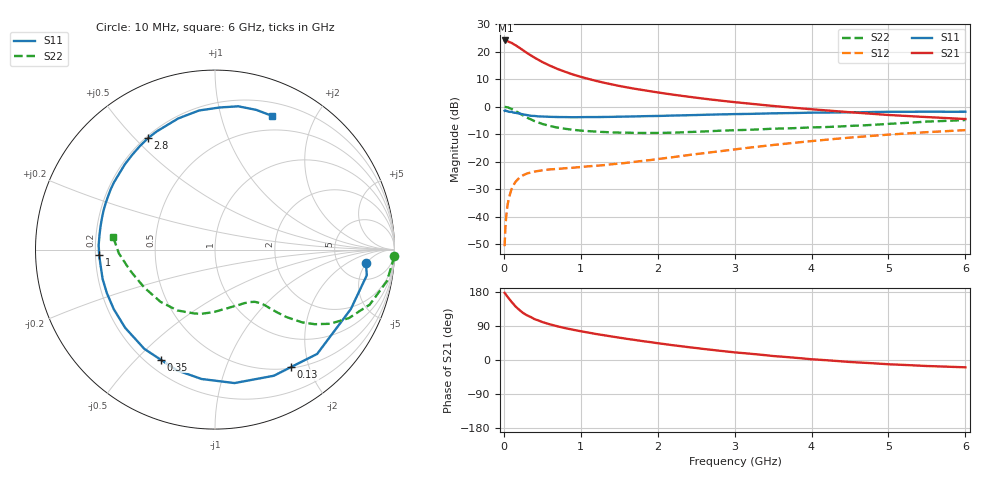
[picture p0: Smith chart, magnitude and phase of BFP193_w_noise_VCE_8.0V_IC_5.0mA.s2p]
! (c) 2017  Infineon Technologies AG, Munich
! Infineon Technologies  Discrete & RF Semiconductors
! BFP193
! VCE =  8.0 V,  IC =  5.0 mA
! Common Emitter S-Parameters:  Jan 2017
# GHz  S  MA  R  50
!  f  S11  S21  S12  S22
! GHz  MAG  ANG  MAG  ANG  MAG  ANG  MAG  ANG
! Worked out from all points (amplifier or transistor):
!   77 points, 10 MHz to 6 GHz, reference 50 ohm
!   highest |S21| = 24.1 dB at 20 MHz (marker M1)
!   |S21| within 3 dB of that: start of sweep to 220.3 MHz
!   unconditionally stable (mu >= 1): 1.412 GHz to 2.624 GHz
!   at 130 MHz: K = 0.14, MSG = 25.6 dB, |S12| = -28.4 dB
!   at 2.2 GHz: K = 1.06, MAG = 9.9 dB, |S12| = -18.4 dB
!   at 6 GHz: K = 0.85, MSG = 2.0 dB, |S12| = -8.5 dB
!   lowest NFmin = 0.92 dB at 450 MHz
!   S11 on the Smith chart (normalised r, x): 10 MHz: 9, -5; 130 MHz: 0.52, -1.72; 350 MHz: 0.26, -0.59; 1 GHz: 0.22, -0.02; 2.8 GHz: 0.21, +0.55; 6 GHz: 0.34, +1.45
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0.01  0.8437 -4.9  15.85 177.2  0.0029 85.3  1 -2.1
0.02  0.8578 -9.6  16.06 174.5  0.0063 86.6  0.9912 -4.3
0.05  0.8262 -23.6  15.53 166.1  0.0169 77.4  0.9742 -10.4
0.1  0.8135 -45.6  14.56 153.3  0.0316 67.5  0.9148 -19.6
0.13  0.7798 -57.0  13.68 146.6  0.0381 61.1  0.8668 -23.9
0.15  0.7755 -65.0  13.2 141.7  0.0427 57.9  0.8378 -27.1
0.2  0.7515 -81.7  11.89 132.4  0.0507 52.3  0.763 -32.8
0.25  0.7248 -95.9  10.64 124.2  0.0565 46.0  0.6937 -36.8
0.3  0.7055 -107.5  9.515 118.0  0.061 42.1  0.634 -39.8
0.35  0.6838 -116.3  8.622 113.4  0.0634 39.6  0.5898 -41.5
0.4  0.679 -125.4  7.796 107.8  0.066 37.3  0.5461 -43.4
0.5  0.6636 -139.0  6.507 100.2  0.0696 34.6  0.4863 -45.5
0.6  0.6544 -149.6  5.582 94.0  0.0724 33.2  0.4451 -47.0
1  0.6461 -177.2  3.501 75.9  0.0799 34.8  0.3675 -52.4
1.1  0.6487 177.7  3.204 72.3  0.0824 35.7  0.3596 -54.1
1.5  0.6581 160.7  2.39 59.0  0.0923 40.4  0.3379 -63.1
2.1  0.6841 139.8  1.737 41.7  0.1162 46.0  0.3349 -80.5
2.8  0.7246 121.0  1.3 24.5  0.1543 47.7  0.3654 -102.0
3.1  0.7371 114.0  1.173 18.4  0.1738 46.8  0.377 -110.7
4.1  0.7813 94.8  0.877 0.7  0.244 39.8  0.4234 -139.6
5.1  0.8083 79.3  0.695 -12.1  0.3171 28.6  0.4957 -168.8
6  0.8099 67.1  0.597 -19.3  0.3751 17.3  0.5721 172.8
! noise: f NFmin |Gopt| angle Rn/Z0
0.45  0.92  0.28  104  0.1
0.9  1.03  0.39  150  0.07
1.9  1.97  0.61  -151  0.13
2.4  2.42  0.67  -131  0.35
